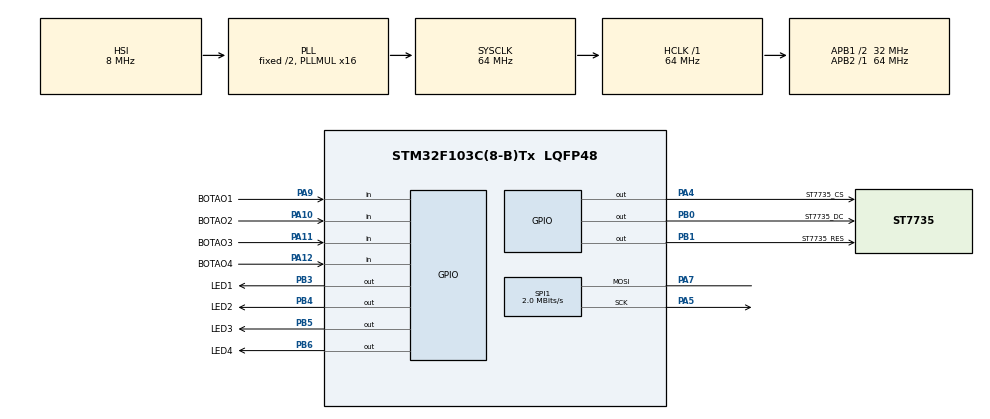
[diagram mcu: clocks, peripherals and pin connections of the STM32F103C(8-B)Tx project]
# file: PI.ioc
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Mcu.Family=STM32F1
Mcu.Name=STM32F103C(8-B)Tx
Mcu.Package=LQFP48
NVIC.PriorityGroup=NVIC_PRIORITYGROUP_4
PA10.GPIO_Label=BOTAO2
PA10.GPIO_PuPd=GPIO_PULLUP
PA10.Signal=GPIO_Input
PA11.GPIO_Label=BOTAO3
PA11.GPIO_PuPd=GPIO_PULLUP
PA11.Signal=GPIO_Input
PA12.GPIO_Label=BOTAO4
PA12.GPIO_PuPd=GPIO_PULLUP
PA12.Signal=GPIO_Input
PA13.Mode=Serial_Wire
PA13.Signal=SYS_JTMS-SWDIO
PA14.Mode=Serial_Wire
PA14.Signal=SYS_JTCK-SWCLK
PA4.GPIO_Label=ST7735_CS
PA4.Signal=GPIO_Output
PA5.Mode=Simplex_Bidirectional_Master
PA5.Signal=SPI1_SCK
PA7.Mode=Simplex_Bidirectional_Master
PA7.Signal=SPI1_MOSI
PA9.GPIO_Label=BOTAO1
PA9.GPIO_PuPd=GPIO_PULLUP
PA9.Signal=GPIO_Input
PB0.GPIO_Label=ST7735_DC
PB0.Signal=GPIO_Output
PB1.GPIO_Label=ST7735_RES
PB1.Signal=GPIO_Output
PB3.GPIO_Label=LED1
PB3.Signal=GPIO_Output
PB4.GPIO_Label=LED2
PB4.Signal=GPIO_Output
PB5.GPIO_Label=LED3
PB5.Signal=GPIO_Output
PB6.GPIO_Label=LED4
PB6.Signal=GPIO_Output
ProjectManager.HeapSize=0x200
ProjectManager.StackSize=0x400
ProjectManager.TargetToolchain=STM32CubeIDE
RCC.AHBFreq_Value=64000000
RCC.APB1CLKDivider=RCC_HCLK_DIV2
RCC.APB1Freq_Value=32000000
RCC.APB1TimFreq_Value=64000000
RCC.APB2Freq_Value=64000000
RCC.APB2TimFreq_Value=64000000
RCC.HCLKFreq_Value=64000000
RCC.PLLMUL=RCC_PLL_MUL16
RCC.SYSCLKFreq_VALUE=64000000
RCC.SYSCLKSource=RCC_SYSCLKSOURCE_PLLCLK
RCC.USBFreq_Value=64000000
SPI1.BaudRatePrescaler=SPI_BAUDRATEPRESCALER_32
SPI1.CalculateBaudRate=2.0 MBits/s
SPI1.Direction=SPI_DIRECTION_1LINE
SPI1.Mode=SPI_MODE_MASTER
SPI1.VirtualType=VM_MASTER
board=custom

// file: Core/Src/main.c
/* USER CODE BEGIN Header */
/**
  ******************************************************************************
  * @file           : main.c
  * @brief          : Main program body
  ******************************************************************************
  * @attention
  *
  * <h2><center>&copy; Copyright (c) 2026 STMicroelectronics.
  * All rights reserved.</center></h2>
  *
  * This software component is licensed by ST under BSD 3-Clause license,
  * the "License"; You may not use this file except in compliance with the
  * License. You may obtain a copy of the License at:
  *                        opensource.org/licenses/BSD-3-Clause
  *
  ******************************************************************************
  */
/* USER CODE END Header */
#include "main.h"

/* USER CODE BEGIN Includes */
#include "st7735\st7735.h"
#include <stdlib.h>
#include "st7735\fonts.h"
#include <stdio.h>
/* USER CODE END Includes */

/* USER CODE BEGIN PD */
#define LED1_ON		HAL_GPIO_WritePin(LED1_GPIO_Port, LED1_Pin, GPIO_PIN_SET);
#define LED1_OFF	HAL_GPIO_WritePin(LED1_GPIO_Port, LED1_Pin, GPIO_PIN_RESET);
#define LED2_ON		HAL_GPIO_WritePin(LED2_GPIO_Port, LED2_Pin, GPIO_PIN_SET);
#define LED2_OFF	HAL_GPIO_WritePin(LED2_GPIO_Port, LED2_Pin, GPIO_PIN_RESET);
#define LED3_ON		HAL_GPIO_WritePin(LED3_GPIO_Port, LED3_Pin, GPIO_PIN_SET);
#define LED3_OFF	HAL_GPIO_WritePin(LED3_GPIO_Port, LED3_Pin, GPIO_PIN_RESET);
#define LED4_ON		HAL_GPIO_WritePin(LED4_GPIO_Port, LED4_Pin, GPIO_PIN_SET);
#define LED4_OFF	HAL_GPIO_WritePin(LED4_GPIO_Port, LED4_Pin, GPIO_PIN_RESET);
/* USER CODE END PD */

SPI_HandleTypeDef hspi1;

/* USER CODE BEGIN PV */
GPIO_PinState BOTAO1;
GPIO_PinState BOTAO2;
GPIO_PinState BOTAO3;
GPIO_PinState BOTAO4;
int inicio;
int senha[4];
int posicao = 0;
int i;
int campo[100];
int matricula_Aluno = 0;
int correta = 1;
int tentativas = 0;
int tentativa[4];
int sistemaIniciado = 0;
int digito;
int telaInicialMostrada = 0;
int botao1Travado = 0;
int configurandoAlunos = 0;
int qtdAlunos = 0;
int alunoBanheiro = 0 ;
int alunosPresentes = 0;
int alunos = 0;
char senha_i[5];
int area [100];
/* USER CODE END PV */

void SystemClock_Config(void);
static void MX_GPIO_Init(void);
static void MX_SPI1_Init(void);
/* USER CODE BEGIN PFP */
void Senha(void);
void ApagarLeds(void);
void MostrarBinario(int numero);
void MostrarDigitacao(void);
void ConfirmarDigito(void);
void Alunos(void);
/* USER CODE END PFP */

int main(void)
{

  /* MCU Configuration--------------------------------------------------------*/

  /* Reset of all peripherals, Initializes the Flash interface and the Systick. */
  HAL_Init();

  /* Configure the system clock */
  SystemClock_Config();

  /* Initialize all configured peripherals */
  MX_GPIO_Init();
  MX_SPI1_Init();
  /* USER CODE BEGIN 2 */
ST7735_Init();
  /* USER CODE END 2 */

  /* Infinite loop */
  while (1)
  {

    /* USER CODE BEGIN 3 */

	  static int telaInicialMostrada = 0;
	  static int botao1Travado = 0;
	  static int configurandoAlunos = 0;
	  static int qtdAlunos = 0;
	  static int limiteBanheiro = 0;
	  static int alunoBanheiro = 0;
	  static int totalForamBanheiro = 0;
	  static int tentativas = 0;
	  static int aulaIniciada = 0;
	  static int confirmandoFim = 0;
	  static int alunosPresentes = 0;

	  GPIO_PinState BOTAO1 = HAL_GPIO_ReadPin(BOTAO1_GPIO_Port, BOTAO1_Pin);
	  GPIO_PinState BOTAO2 = HAL_GPIO_ReadPin(BOTAO2_GPIO_Port, BOTAO2_Pin);
	  GPIO_PinState BOTAO3 = HAL_GPIO_ReadPin(BOTAO3_GPIO_Port, BOTAO3_Pin);
	  GPIO_PinState BOTAO4 = HAL_GPIO_ReadPin(BOTAO4_GPIO_Port, BOTAO4_Pin);

	  if (configurandoAlunos == 1)
	  {
	      char texto[30];

	      sprintf(texto, "Alunos: %d   ", qtdAlunos);
	      ST7735_WriteString(10, 70, texto, Font_7x10, ST7735_WHITE, ST7735_BLACK);

	      if (BOTAO4 == 0)
	      {
	          qtdAlunos++;
	          if (qtdAlunos > 50)
	              qtdAlunos = 50;
	          HAL_Delay(200);
	      }

	      if (BOTAO2 == 0)
	      {
	          if (qtdAlunos > 0)
	              qtdAlunos--;
	          HAL_Delay(200);
	      }

	      if (BOTAO3 == 0)
	      {
	          ST7735_FillScreen(ST7735_BLACK);
	          ST7735_WriteString(10, 10, "Qtd salva", Font_7x10, ST7735_GREEN, ST7735_BLACK);

	          sprintf(texto, "Alunos: %d", qtdAlunos);
	          ST7735_WriteString(10, 30, texto, Font_7x10, ST7735_WHITE, ST7735_BLACK);

	          HAL_Delay(1500);

	          configurandoAlunos = 0;
	          sistemaIniciado = 0;
	          telaInicialMostrada = 0;
	          posicao = 0;
	          digito = 0;
	          limiteBanheiro = 3;
	          inicio = 1;
	          aulaIniciada = 1;

	          ST7735_FillScreen(ST7735_BLACK);
	      }

	      continue;
	  }

	  if (inicio == 0)
	  {
	      if (telaInicialMostrada == 0)
	      {
	          ST7735_FillScreen(ST7735_BLACK);
	          ST7735_WriteString(10, 10, "Aperte BOTAO1 (PA9)", Font_7x10, ST7735_WHITE, ST7735_BLACK);
	          ST7735_WriteString(10, 25, "para iniciar", Font_7x10, ST7735_WHITE, ST7735_BLACK);
	          telaInicialMostrada = 1;
	      }

	      if (BOTAO1 == 0 && botao1Travado == 0 && sistemaIniciado == 0)
	      {
	          botao1Travado = 1;

	          Senha();
	          posicao = 0;
	          digito = 0;
	          sistemaIniciado = 1;
	          configurandoAlunos = 0;

	          ST7735_FillScreen(ST7735_BLACK);
	          ST7735_WriteString(10, 10, "Digite a senha", Font_7x10, ST7735_WHITE, ST7735_BLACK);
	          ST7735_WriteString(10, 25, "PA11: Confirmar", Font_7x10, ST7735_WHITE, ST7735_BLACK);
	          ST7735_WriteString(10, 40, "PA12: Aumentar", Font_7x10, ST7735_WHITE, ST7735_BLACK);
	          ST7735_WriteString(10, 55, "PA10: Diminuir", Font_7x10, ST7735_WHITE, ST7735_BLACK);

	          HAL_Delay(300);
	      }

	      if (BOTAO1 == 1)
	      {
	          botao1Travado = 0;
	      }

	      if (sistemaIniciado == 1 && configurandoAlunos == 0)
	      {
	          MostrarDigitacao();

	          if (BOTAO4 == 0)
	          {
	              digito++;
	              if (digito > 9)
	                  digito = 0;
	              HAL_Delay(200);
	          }

	          if (BOTAO3 == 0)
	          {
	              ConfirmarDigito();
	              HAL_Delay(200);
	          }

	          if (BOTAO2 == 0)
	          {
	              if (digito > 0)
	                  digito--;
	              HAL_Delay(200);
	          }

	          if (posicao == 4)
	          {
	              int correta = 1;
	              int i;

	              for (i = 0; i < 4; i++)
	              {
	                  if (tentativa[i] != senha[i])
	                  {
	                      correta = 0;
	                      break;
	                  }
	              }

	              if (correta)
	              {
	                  ST7735_FillScreen(ST7735_BLACK);
	                  ST7735_WriteString(10, 40, "Senha correta", Font_7x10, ST7735_GREEN, ST7735_BLACK);
	                  HAL_Delay(1000);

	                  configurandoAlunos = 1;
	                  sistemaIniciado = 0;
	                  posicao = 0;
	                  digito = 0;
	                  tentativas = 0;
	                  qtdAlunos = 0;

	                  ST7735_FillScreen(ST7735_BLACK);
	                  ST7735_WriteString(10, 10, "Qtd de alunos", Font_7x10, ST7735_WHITE, ST7735_BLACK);
	                  ST7735_WriteString(10, 25, "PA12: Aumentar", Font_7x10, ST7735_WHITE, ST7735_BLACK);
	                  ST7735_WriteString(10, 40, "PA10: Diminuir", Font_7x10, ST7735_WHITE, ST7735_BLACK);
	                  ST7735_WriteString(10, 55, "PA11: Confirmar", Font_7x10, ST7735_WHITE, ST7735_BLACK);

	                  continue;
	              }
	              else
	              {
	                  tentativas++;

	                  ST7735_FillScreen(ST7735_BLACK);
	                  ST7735_WriteString(10, 40, "Senha incorreta", Font_7x10, ST7735_RED, ST7735_BLACK);
	                  HAL_Delay(2000);

	                  if (tentativas >= 3)
	                  {
	                      ST7735_FillScreen(ST7735_BLACK);
	                      ST7735_WriteString(10, 20, "3 erros", Font_7x10, ST7735_RED, ST7735_BLACK);
	                      ST7735_WriteString(10, 40, "Encerrando...", Font_7x10, ST7735_WHITE, ST7735_BLACK);
	                      HAL_Delay(1500);

	                      tentativas = 0;
	                      posicao = 0;
	                      digito = 0;
	                      sistemaIniciado = 0;
	                      configurandoAlunos = 0;
	                      telaInicialMostrada = 0;

	                      ST7735_FillScreen(ST7735_BLACK);
	                      break;
	                  }

	                  posicao = 0;
	                  digito = 0;

	                  ST7735_FillScreen(ST7735_BLACK);
	                  ST7735_WriteString(10, 10, "Digite novamente", Font_7x10, ST7735_WHITE, ST7735_BLACK);
	              }
	          }
	      }

	      continue;
	  }

	  if (aulaIniciada == 1)
	  {
	      char texto[40];

	      if (confirmandoFim == 0)
	      {
	          sprintf(texto, "No banheiro: %d   ", alunoBanheiro);
	          ST7735_WriteString(10, 10, texto, Font_7x10, ST7735_WHITE, ST7735_BLACK);

	          sprintf(texto, "Limite banheiro: %d   ", limiteBanheiro);
	          ST7735_WriteString(10, 25, texto, Font_7x10, ST7735_WHITE, ST7735_BLACK);

	          sprintf(texto, "Saidas: %d   ", totalForamBanheiro);
	          ST7735_WriteString(10, 40, texto, Font_7x10, ST7735_WHITE, ST7735_BLACK);

	          sprintf(texto, "Alunos: %d/%d   ", alunosPresentes, qtdAlunos);
	          ST7735_WriteString(10, 55, texto, Font_7x10, ST7735_WHITE, ST7735_BLACK);

	          int larguraTotal = 100;
	          int alturaBarra = 8;
	          int xBarra = 10;
	          int yBarra = 70;
	          int larguraPreenchida = 0;

	          if (qtdAlunos > 0)
	          {
	              larguraPreenchida = (alunosPresentes * larguraTotal) / qtdAlunos;
	          }

	          if (larguraPreenchida > larguraTotal)
	          {
	              larguraPreenchida = larguraTotal;
	          }

	          ST7735_DrawLine(xBarra, yBarra, xBarra + larguraTotal, yBarra, ST7735_WHITE);
	          ST7735_DrawLine(xBarra, yBarra + alturaBarra, xBarra + larguraTotal, yBarra + alturaBarra, ST7735_WHITE);
	          ST7735_DrawLine(xBarra, yBarra, xBarra, yBarra + alturaBarra, ST7735_WHITE);
	          ST7735_DrawLine(xBarra + larguraTotal, yBarra, xBarra + larguraTotal, yBarra + alturaBarra, ST7735_WHITE);

	          for (int i = 0; i < larguraPreenchida; i++)
	          {
	              ST7735_DrawLine(xBarra + i, yBarra + 1, xBarra + i, yBarra + alturaBarra - 1, ST7735_GREEN);
	          }

	          if (BOTAO3 == 0)
	          {
	              confirmandoFim = 1;

	              ST7735_FillScreen(ST7735_BLACK);
	              ST7735_WriteString(10, 10, "Finalizar aula?", Font_7x10, ST7735_WHITE, ST7735_BLACK);
	              ST7735_WriteString(10, 30, "Segure B3 e B1", Font_7x10, ST7735_GREEN, ST7735_BLACK);
	              ST7735_WriteString(10, 45, "B2/B4 cancela", Font_7x10, ST7735_RED, ST7735_BLACK);

	              HAL_Delay(300);
	          }

	          else if (BOTAO1 == 0)
	          {
	              if (alunosPresentes < qtdAlunos)
	              {
	                  Alunos();
	                  alunosPresentes++;
	              }

	              HAL_Delay(200);
	          }

	          else if (BOTAO4 == 0)
	          {
	              if (alunoBanheiro < limiteBanheiro)
	              {
	                  alunoBanheiro++;
	                  totalForamBanheiro++;
	              }

	              HAL_Delay(200);
	          }

	          else if (BOTAO2 == 0)
	          {
	              if (alunoBanheiro > 0)
	                  alunoBanheiro--;

	              HAL_Delay(200);
	          }
	      }
	      else
	      {
	          if (BOTAO1 == 0 && BOTAO3 == 0)
	          {
	              ST7735_FillScreen(ST7735_BLACK);

	              sprintf(texto, "Saidas: %d", totalForamBanheiro);
	              ST7735_WriteString(10, 20, texto, Font_7x10, ST7735_WHITE, ST7735_BLACK);

	              sprintf(texto, "Alunos: %d", alunosPresentes);
	              ST7735_WriteString(10, 40, texto, Font_7x10, ST7735_WHITE, ST7735_BLACK);

	              HAL_Delay(3000);

	              aulaIniciada = 0;
	              inicio = 0;
	              telaInicialMostrada = 0;
	              sistemaIniciado = 0;
	              posicao = 0;
	              digito = 0;
	              confirmandoFim = 0;

	              ST7735_FillScreen(ST7735_BLACK);
	              break;
	          }

	          else if (BOTAO2 == 0 || BOTAO4 == 0)
	          {
	              confirmandoFim = 0;
	              ST7735_FillScreen(ST7735_BLACK);
	              HAL_Delay(300);
	          }
	      }
	  }
  }
  /* USER CODE END 3 */
}

void SystemClock_Config(void)
{
  RCC_OscInitTypeDef RCC_OscInitStruct = {0};
  RCC_ClkInitTypeDef RCC_ClkInitStruct = {0};

  /** Initializes the RCC Oscillators according to the specified parameters
  * in the RCC_OscInitTypeDef structure.
  */
  RCC_OscInitStruct.OscillatorType = RCC_OSCILLATORTYPE_HSI;
  RCC_OscInitStruct.HSIState = RCC_HSI_ON;
  RCC_OscInitStruct.HSICalibrationValue = RCC_HSICALIBRATION_DEFAULT;
  RCC_OscInitStruct.PLL.PLLState = RCC_PLL_ON;
  RCC_OscInitStruct.PLL.PLLSource = RCC_PLLSOURCE_HSI_DIV2;
  RCC_OscInitStruct.PLL.PLLMUL = RCC_PLL_MUL16;
  if (HAL_RCC_OscConfig(&RCC_OscInitStruct) != HAL_OK)
  {
    Error_Handler();
  }
  /** Initializes the CPU, AHB and APB buses clocks
  */
  RCC_ClkInitStruct.ClockType = RCC_CLOCKTYPE_HCLK|RCC_CLOCKTYPE_SYSCLK
                              |RCC_CLOCKTYPE_PCLK1|RCC_CLOCKTYPE_PCLK2;
  RCC_ClkInitStruct.SYSCLKSource = RCC_SYSCLKSOURCE_PLLCLK;
  RCC_ClkInitStruct.AHBCLKDivider = RCC_SYSCLK_DIV1;
  RCC_ClkInitStruct.APB1CLKDivider = RCC_HCLK_DIV2;
  RCC_ClkInitStruct.APB2CLKDivider = RCC_HCLK_DIV1;

  if (HAL_RCC_ClockConfig(&RCC_ClkInitStruct, FLASH_LATENCY_2) != HAL_OK)
  {
    Error_Handler();
  }
}

static void MX_SPI1_Init(void)
{

  /* SPI1 parameter configuration*/
  hspi1.Instance = SPI1;
  hspi1.Init.Mode = SPI_MODE_MASTER;
  hspi1.Init.Direction = SPI_DIRECTION_1LINE;
  hspi1.Init.DataSize = SPI_DATASIZE_8BIT;
  hspi1.Init.CLKPolarity = SPI_POLARITY_LOW;
  hspi1.Init.CLKPhase = SPI_PHASE_1EDGE;
  hspi1.Init.NSS = SPI_NSS_SOFT;
  hspi1.Init.BaudRatePrescaler = SPI_BAUDRATEPRESCALER_32;
  hspi1.Init.FirstBit = SPI_FIRSTBIT_MSB;
  hspi1.Init.TIMode = SPI_TIMODE_DISABLE;
  hspi1.Init.CRCCalculation = SPI_CRCCALCULATION_DISABLE;
  hspi1.Init.CRCPolynomial = 10;
  if (HAL_SPI_Init(&hspi1) != HAL_OK)
  {
    Error_Handler();
  }

}

static void MX_GPIO_Init(void)
{
  GPIO_InitTypeDef GPIO_InitStruct = {0};

  /* GPIO Ports Clock Enable */
  __HAL_RCC_GPIOA_CLK_ENABLE();
  __HAL_RCC_GPIOB_CLK_ENABLE();

  /*Configure GPIO pin Output Level */
  HAL_GPIO_WritePin(ST7735_CS_GPIO_Port, ST7735_CS_Pin, GPIO_PIN_RESET);

  /*Configure GPIO pin Output Level */
  HAL_GPIO_WritePin(GPIOB, ST7735_DC_Pin|ST7735_RES_Pin|LED1_Pin|LED2_Pin
                          |LED3_Pin|LED4_Pin, GPIO_PIN_RESET);

  /*Configure GPIO pin : ST7735_CS_Pin */
  GPIO_InitStruct.Pin = ST7735_CS_Pin;
  GPIO_InitStruct.Mode = GPIO_MODE_OUTPUT_PP;
  GPIO_InitStruct.Pull = GPIO_NOPULL;
  GPIO_InitStruct.Speed = GPIO_SPEED_FREQ_LOW;
  HAL_GPIO_Init(ST7735_CS_GPIO_Port, &GPIO_InitStruct);

  /*Configure GPIO pins : ST7735_DC_Pin ST7735_RES_Pin LED1_Pin LED2_Pin
                           LED3_Pin LED4_Pin */
  GPIO_InitStruct.Pin = ST7735_DC_Pin|ST7735_RES_Pin|LED1_Pin|LED2_Pin
                          |LED3_Pin|LED4_Pin;
  GPIO_InitStruct.Mode = GPIO_MODE_OUTPUT_PP;
  GPIO_InitStruct.Pull = GPIO_NOPULL;
  GPIO_InitStruct.Speed = GPIO_SPEED_FREQ_LOW;
  HAL_GPIO_Init(GPIOB, &GPIO_InitStruct);

  /*Configure GPIO pins : BOTAO1_Pin BOTAO2_Pin BOTAO3_Pin BOTAO4_Pin */
  GPIO_InitStruct.Pin = BOTAO1_Pin|BOTAO2_Pin|BOTAO3_Pin|BOTAO4_Pin;
  GPIO_InitStruct.Mode = GPIO_MODE_INPUT;
  GPIO_InitStruct.Pull = GPIO_PULLUP;
  HAL_GPIO_Init(GPIOA, &GPIO_InitStruct);

}

/* USER CODE BEGIN 4 */
void Alunos(void){
	ST7735_FillScreen(ST7735_BLACK);
	char texto[30];
	   ST7735_WriteString(10, 40, "Escaneando face....", Font_7x10, ST7735_WHITE, ST7735_BLACK);
	   HAL_Delay(1000);
	   ST7735_FillScreen(ST7735_BLACK);
	   campo[qtdAlunos] = matricula_Aluno;

	   sprintf(texto, "Matricula: %d  ", matricula_Aluno);
	   ST7735_WriteString(10, 40, texto, Font_7x10, ST7735_WHITE, ST7735_BLACK);
	   HAL_Delay(2000);
	   ST7735_FillScreen(ST7735_BLACK);
}
void Senha(void)
{
    srand(HAL_GetTick());
    for (int i = 0; i < 4; i++)
    {
        senha[i] = (rand() % 9)+ 1;
        MostrarBinario(senha[i]);

    }

}
void MostrarDigitacao(void)
{
    char texto[30];

    sprintf(texto, "Digito %d: %d  ", posicao + 1, digito);
    ST7735_WriteString(10, 70, texto, Font_7x10, ST7735_WHITE, ST7735_BLACK);
}
void ApagarLeds(void)
{
	LED1_OFF;
	LED2_OFF;
	LED3_OFF;
	LED4_OFF;
}
void MostrarBinario(int numero)
{
	ST7735_FillScreen(ST7735_BLACK);
	ST7735_WriteString(10, 40, "Gerando senha...", Font_7x10, ST7735_WHITE, ST7735_BLACK);
	HAL_Delay (1000);
	ApagarLeds();
	if(numero & 1) LED1_ON;
	if(numero & 2) LED2_ON;
	if(numero & 4) LED3_ON;
	if(numero & 8) LED4_ON;
	HAL_Delay(2000);
	ApagarLeds();
	HAL_Delay(300);
}
void ConfirmarDigito(void)
{
    if (sistemaIniciado == 1 && posicao < 4)
    {
        tentativa[posicao] = digito;
        posicao++;

        digito = 0;

        HAL_Delay(250);
    }
}

/* USER CODE END 4 */

void Error_Handler(void)
{
  __disable_irq();
  while (1)
  {
  }
}

/************************ (C) COPYRIGHT STMicroelectronics *****END OF FILE****/
